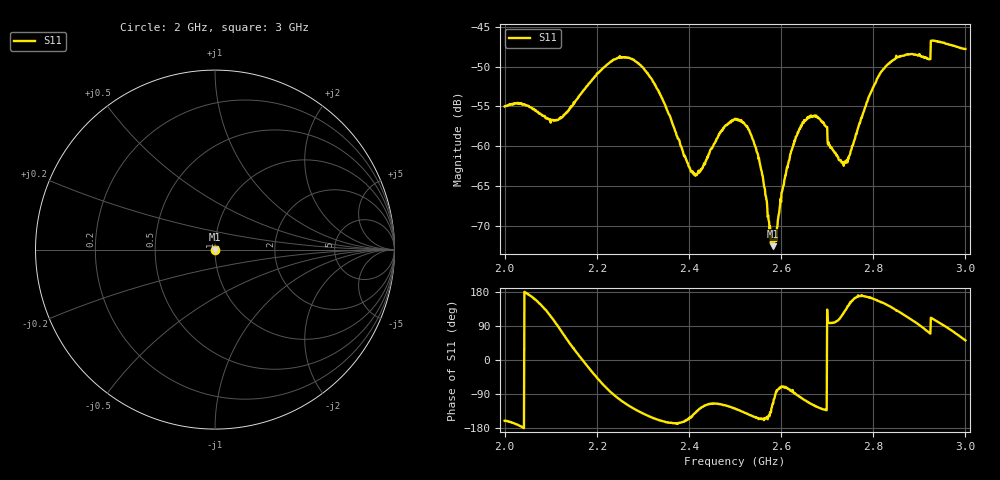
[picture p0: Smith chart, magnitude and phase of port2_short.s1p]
!Created with skrf (http://scikit-rf.org).
# GHz S RI R 50.0
!freq ReS11 ImS11
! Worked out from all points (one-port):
!   1001 points, 2 GHz to 3 GHz, reference 50 ohm
!   lowest |S11| = -72.6 dB at 2.582 GHz (marker M1), VSWR 1.00, Z = 50 - j0.0214 ohm
!   |S11| at or under -10 dB: start of sweep to end of sweep
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2  -0.00167 -0.000597
2.125  0.000462 0.00145
2.204  0.0018 -0.00226
2.25  -0.000895 -0.00358
2.315  -0.00236 -0.00138
2.375  -0.00111 -0.000263
2.415  -0.000481 -0.000441
2.47  -0.000569 -0.00111
2.5  -0.000911 -0.00117
2.524  -0.00104 -0.000852
2.545  -0.000858 -0.000472
2.56  -0.000596 -0.000264
2.576  -0.000231 -0.00021
2.582  -9.65e-05 -0.000214
2.587  -1.5e-05 -0.000262
2.606  0.000195 -0.000535
2.625  0.000184 -0.000967
2.648  -0.000326 -0.00136
2.674  -0.000809 -0.00131
2.695  -0.00088 -0.00102
2.706  -0.000135 0.000998
2.731  -0.00034 0.000713
2.75  -0.000794 0.000416
2.813  -0.00252 0.00118
2.875  -0.00146 0.0035
2.919  0.000953 0.00341
2.93  -0.00143 0.00439
3  0.00253 0.00322
